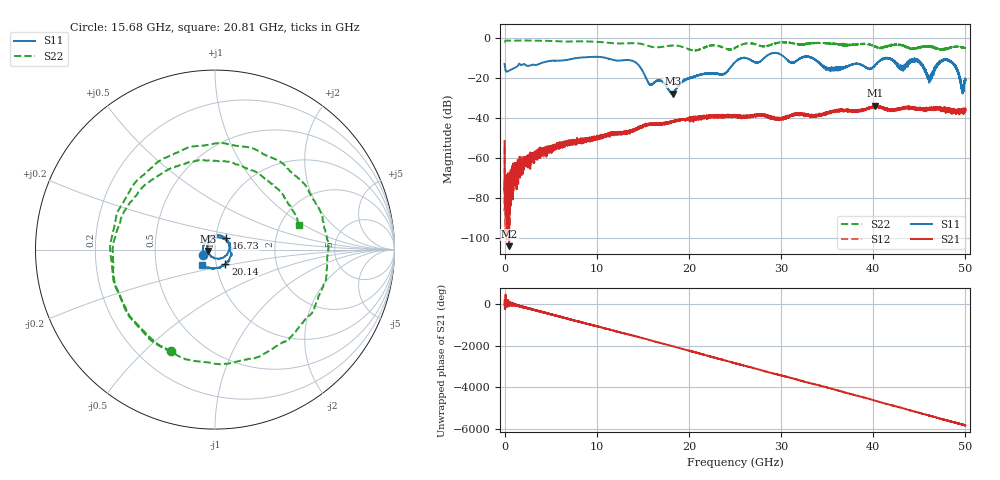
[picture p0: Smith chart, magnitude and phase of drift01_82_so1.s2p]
!Created with skrf (http://scikit-rf.org).
# Hz S RI R 50.0
!freq ReS11 ImS11 ReS21 ImS21 ReS12 ImS12 ReS22 ImS22
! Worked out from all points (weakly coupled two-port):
!   10001 points, 300 kHz to 50 GHz, reference 50 ohm
!   highest |S21| = -33.96 dB at 40.23 GHz (marker M1); lowest = -104.1 dB at 495.3 MHz (marker M2)
!   lowest |S11| = -27.9 dB at 18.26 GHz (marker M3), VSWR 1.08, Z = 46.2 - j0.702 ohm
!   |S11| at or under -10 dB: start of sweep to 8.035 GHz; 10.91 GHz to 25.87 GHz (14.97 GHz wide, 81.4 % of centre); 41.54 GHz to end of sweep (the widest 3 of 21)
!   |S22| runs from -6.4 to -1.4 dB; largest |S21 - S12| = 0.0037
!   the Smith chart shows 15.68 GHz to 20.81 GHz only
!   S11 on the Smith chart (normalised r, x): 15.68 GHz: 0.88, -0.05; 16.73 GHz: 1.12, +0.14; 20.14 GHz: 1.11, -0.18; 20.81 GHz: 0.85, -0.15
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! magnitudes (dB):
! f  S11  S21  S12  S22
! 300 kHz  -13.1  -51.6  -54.4  -2.1
! 255.3 MHz  -16.9  -73.5  -75.0  -1.4
! 495.3 MHz  -16.4  -104.1  -70.1  -1.4
! 2.745 GHz  -13.9  -61.2  -61.8  -1.4
! 8.335 GHz  -9.9  -51.7  -52.0  -1.8
! 13.9 GHz  -11.5  -46.5  -46.4  -2.7
! 15.68 GHz  -23.0  -43.0  -43.2  -4.2
! 16.67 GHz  -21.3  -43.2  -43.2  -4.8
! 16.73 GHz  -21.2  -42.8  -43.0  -4.7
! 18.26 GHz  -27.9  -42.0  -41.7  -3.9
! 20.14 GHz  -20.2  -39.6  -40.8  -5.9
! 20.81 GHz  -19.0  -40.3  -39.9  -6.3
! 25 GHz  -12.2  -38.8  -39.5  -5.0
! 33.34 GHz  -10.1  -38.8  -38.8  -2.7
! 35.22 GHz  -15.9  -37.8  -36.9  -2.8
! 40.23 GHz  -13.8  -34.0  -34.3  -4.6
! 41.67 GHz  -10.1  -35.9  -35.9  -4.0
! 43.03 GHz  -15.0  -35.4  -35.4  -3.7
! 44.82 GHz  -11.5  -35.6  -35.7  -4.9
! 46.12 GHz  -19.2  -35.6  -35.4  -4.2
! 48.07 GHz  -11.0  -36.3  -36.4  -5.5
! 50 GHz  -21.2  -36.0  -36.7  -5.2
